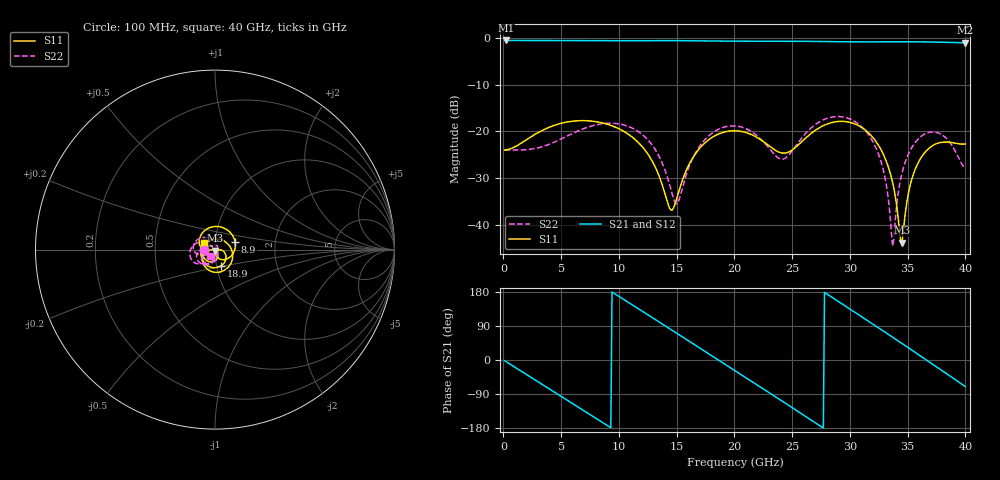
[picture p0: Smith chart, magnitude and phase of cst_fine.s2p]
! X_s8x2_L1L3_bd_d200: L1→L3 back-drilled, drill Ø0.2, L2 plane removed: L3 exits above the top plane
! stackup: 8-layer 1.6 mm FR-4 without the L2 plane
! ports: 1, 2
! CST Studio Suite 2025.5 Release from 2025-05-30, time domain (FIT, hexahedral, PBA), 386496 mesh cells, 72 s
! mesh: {'lpw': 30.0, 'lpb': 30.0, 'minstep': 0.0, 'ratio': 20}; ports: port 1 (face); port 2 (face)
! interpolated from CST's 1001 samples to the case grid
# Hz S RI R 50
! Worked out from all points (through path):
!   400 points, 100 MHz to 40 GHz, reference 50 ohm
!   highest |S21| = -0.56 dB at 200 MHz (marker M1); lowest = -1.1 dB at 40 GHz (marker M2)
!   group delay of S21, straight-line fit = 54.7 ps
!   lowest |S11| = -43.8 dB at 34.5 GHz (marker M3), VSWR 1.01, Z = 49.8 - j0.617 ohm
!   |S11| at or under -10 dB: start of sweep to end of sweep
!   |S22| runs from -44.6 to -16.8 dB; largest |S21 - S12| = 4.9e-06
!   S11 on the Smith chart (normalised r, x): 100 MHz: 0.88, +0.00; 8.9 GHz: 1.25, +0.11; 18.9 GHz: 1.05, -0.19; 40 GHz: 0.88, +0.07
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1e8  -0.063 1.8e-05  0.9367 -0.0314  0.9367 -0.0314  -0.0628 -0.000374
2e8  -0.0631 4.71e-05  0.9352 -0.0628  0.9352 -0.0628  -0.0628 -0.000748
3.7e9  -0.0851 0.0648  0.3031 -0.8857  0.3031 -0.8857  -0.0679 -0.0194
6.8e9  0.0378 0.1243  -0.6081 -0.7072  -0.6081 -0.7072  -0.1024 -0.0232
8.9e9  0.112 0.0426  -0.9197 -0.1455  -0.9197 -0.1455  -0.121 0.0114
1.1e10  0.0765 -0.0464  -0.7951 0.4864  -0.7951 0.4864  -0.0937 0.0582
1.34e10  0.00711 -0.0344  -0.1932 0.9135  -0.1932 0.9135  -0.0153 0.0541
1.5e10  0.0186 -0.0038  0.3086 0.8801  0.3086 0.8801  0.0166 0.00205
1.67e10  0.0558 -0.0196  0.7379 0.5642  0.7379 0.5642  -0.00145 -0.0609
1.89e10  0.0345 -0.0899  0.9184 -0.0897  0.9184 -0.0897  -0.0739 -0.0797
2.01e10  -0.0168 -0.0998  0.8052 -0.4463  0.8052 -0.4463  -0.0999 -0.0546
2.34e10  -0.0554 0.0327  -0.062 -0.9181  -0.062 -0.9181  -0.0566 -0.0102
2.67e10  0.0955 -0.01  -0.8586 -0.3191  -0.8586 -0.3191  -0.0759 -0.0797
2.88e10  0.0503 -0.1162  -0.846 0.3335  -0.846 0.3335  -0.1362 -0.0454
3.11e10  -0.059 -0.0905  -0.3482 0.8357  -0.3482 0.8357  -0.1032 0.0358
3.26e10  -0.0613 -0.026  0.1185 0.8982  0.1185 0.8982  -0.038 0.0347
3.34e10  -0.0386 -0.00517  0.3647 0.8301  0.3647 0.8301  -0.0117 0.0105
3.37e10  -0.0281 -0.00196  0.4511 0.7868  0.4511 0.7868  -0.00573 -0.00139
3.45e10  -0.00169 -0.00619  0.6545 0.6283  0.6545 0.6283  -0.00193 -0.035
3.52e10  0.0131 -0.0223  0.7898 0.446  0.7898 0.446  -0.0125 -0.0605
3.62e10  0.0111 -0.052  0.8944 0.1387  0.8944 0.1387  -0.0415 -0.0787
4e10  -0.0632 0.037  0.2997 -0.8321  0.2997 -0.8321  -0.0197 -0.0361
